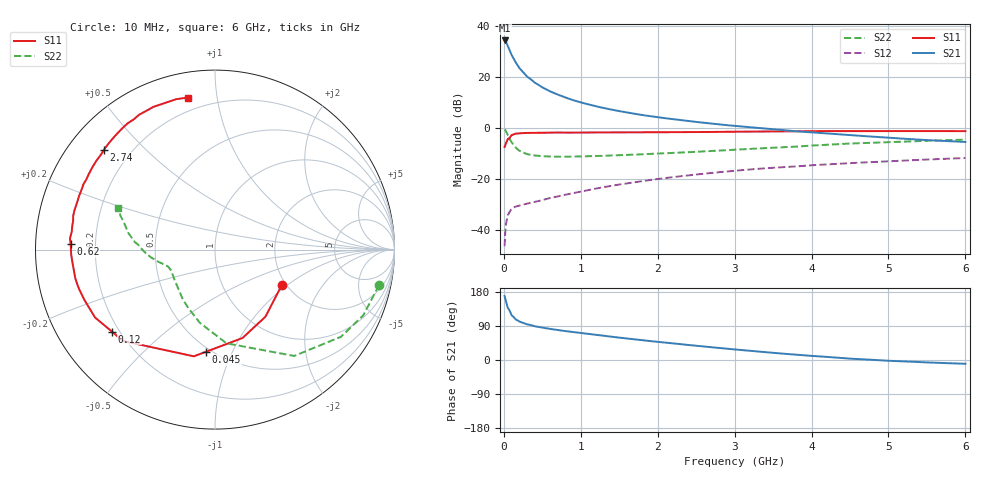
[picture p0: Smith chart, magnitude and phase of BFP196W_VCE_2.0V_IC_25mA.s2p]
! Infineon Technologies  Discrete & RF Semiconductors
! BFP196W
! VCE = 2.0 V,  IC =  25mA
! Common Emitter S-Parameters:  Jan 2016
# GHz  S  MA  R  50
!  f  S11  S21  S12  S22
! GHz  MAG  ANG  MAG  ANG  MAG  ANG  MAG  ANG
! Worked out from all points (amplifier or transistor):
!   210 points, 10 MHz to 6 GHz, reference 50 ohm
!   highest |S21| = 34.2 dB at 10 MHz (marker M1)
!   |S21| within 3 dB of that: start of sweep to 63.88 MHz
!   unconditionally stable (mu >= 1): 785.3 MHz to 3.314 GHz
!   at 185 MHz: K = 0.39, MSG = 27.4 dB, |S12| = -30.6 dB
!   at 1.52 GHz: K = 1.13, MAG = 12.1 dB, |S12| = -22.1 dB
!   at 6 GHz: K = 0.95, MSG = 3.1 dB, |S12| = -11.8 dB
!   S11 on the Smith chart (normalised r, x): 10 MHz: 1.90, -0.91; 45 MHz: 0.47, -0.80; 120 MHz: 0.17, -0.34; 620 MHz: 0.11, +0.02; 2.74 GHz: 0.11, +0.38; 6 GHz: 0.13, +0.83
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0.01  0.4215 -28.0  51.48 168.8  0.0048 77.3  0.9353 -12.2
0.02  0.4678 -53.1  50.38 160.7  0.0096 73.8  0.9037 -23.9
0.03  0.5158 -72.7  47.59 152.4  0.0136 66.6  0.8535 -34.7
0.045  0.5712 -95.0  42.08 142.2  0.0178 56.1  0.7595 -48.2
0.05  0.6061 -101.2  40.6 138.2  0.0193 53.7  0.739 -53.3
0.1  0.7218 -135.1  26.96 118.2  0.0259 38.6  0.5262 -83.0
0.12  0.7338 -141.5  23.86 114.8  0.0269 36.4  0.4767 -89.4
0.15  0.7681 -150.5  19.43 107.6  0.0285 33.5  0.4169 -101.6
0.2  0.7799 -159.0  14.94 101.6  0.0299 32.5  0.3588 -114.3
0.26  0.7905 -165.2  11.79 96.9  0.0316 33.2  0.3245 -124.5
0.3  0.7946 -168.3  10.17 94.3  0.0326 34.1  0.3057 -130.2
0.4  0.7971 -174.3  7.709 89.2  0.0353 37.5  0.2874 -139.6
0.5  0.8021 -178.3  6.213 85.3  0.0384 40.7  0.2783 -145.9
0.62  0.8047 177.8  5.045 81.5  0.0427 43.9  0.2729 -150.8
1.02  0.8072 168.4  3.086 70.6  0.0573 51.3  0.2752 -158.8
1.4  0.8114 160.8  2.273 61.3  0.0732 54.1  0.2863 -162.2
2.02  0.8188 149.8  1.598 47.6  0.1004 54.3  0.3123 -166.4
2.74  0.8318 138.0  1.193 32.8  0.1325 51.1  0.3542 -172.4
3.1  0.8415 132.3  1.058 26.2  0.1484 48.5  0.3793 -176.1
4.1  0.8621 118.3  0.796 9.6  0.1883 41.1  0.4571 173.4
5.1  0.8635 107.5  0.625 -2.8  0.2245 33.3  0.5315 163.2
6  0.8607 100.2  0.529 -10.0  0.2563 27.0  0.5863 156.6
